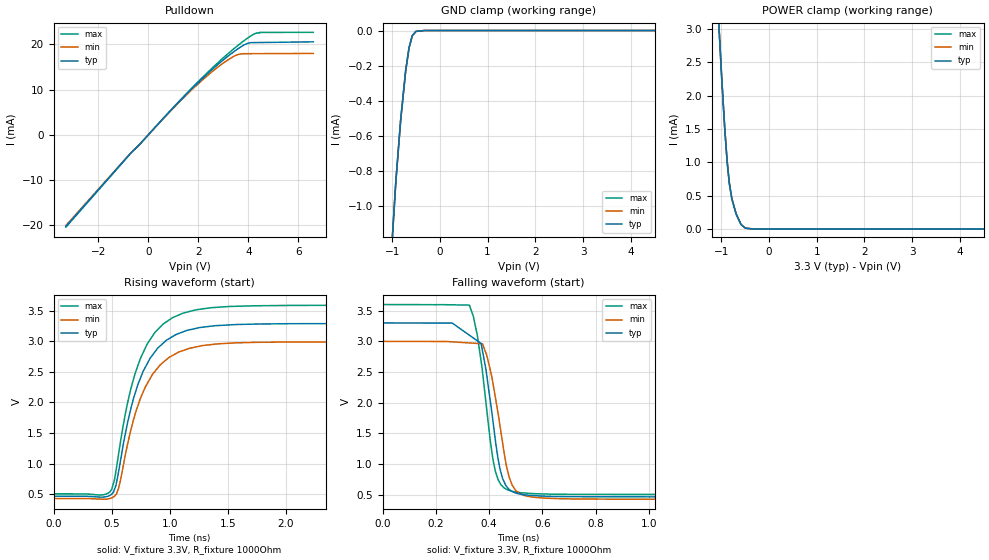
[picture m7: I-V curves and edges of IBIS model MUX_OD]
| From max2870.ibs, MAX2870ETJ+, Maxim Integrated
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|   MUX_OD Model
[Model]   MUX_OD
Model_type   Open_drain
Polarity   Non-Inverting
Vmeas = 1.65
Vref = 3.3
Cref = 10pF
Rref = 10000
|   typ   min   max
|C_comp values with magnitude order
C_comp   1.621e-14   1.621e-14   1.621e-14
|C_comp values with real corner order
|C_comp   1.621e-14   1.621e-14   1.621e-14
|C_comp (ON state)   1.621e-14   1.621e-14   1.621e-14
|C_comp (OFF state)   1.622e-14   1.621e-14   1.622e-14
[Voltage Range]   3.3   3   3.6
[Temperature Range]   27   110   -40
[Pullup Reference]   3.3   3   3.6
[Pulldown Reference]   0   0   0
[Power Clamp Reference]   3.3   3   3.6
[GND Clamp Reference]   0   0   0
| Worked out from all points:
|   slope of the pulldown table from 0 to 0.495 V, typ, clamps not added: 165 ohm
|   GND clamp passes 1 mA (typ) near -0.95 V on its own axis
|   POWER clamp passes 1 mA (typ) near -0.87 V on its own axis
|   falling waveform, V_fixture 3.3V, R_fixture 1000Ohm: 20-80 % time 56.1ps typ, 59.7ps min, 53.1ps max; typ from 3.3 V to 0.466 V
|   rising waveform, V_fixture 3.3V, R_fixture 1000Ohm: 20-80 % time 261ps typ, 266ps min, 258ps max; typ from 0.466 V to 3.3 V
[Pulldown]
|   Voltage   I(typ)   I(min)   I(max)
-3.3V     -20.26mA   -20.05mA   -20.41mA
-723mV    -4.15mA    -4.105mA   -4.183mA
-330mV    -2.002mA   -1.983mA   -2.016mA
999mV     6.004mA    5.909mA    6.074mA
2.082V    12.04mA    11.73mA    12.26mA
2.99V     16.54mA    15.85mA    17mA
3.375V    18.21mA    17.23mA    18.84mA
3.623V    19.18mA    17.84mA    19.95mA
3.986V    20.27mA    17.96mA    21.46mA
4.31V     20.42mA    17.96mA    22.5mA
4.448V    20.43mA    17.97mA    22.66mA
6.6V      20.58mA    18.01mA    22.68mA
[GND Clamp]
|   Voltage   I(typ)   I(min)   I(max)
-3.3V     -17.18mA   -17.18mA   -17.18mA
-1.005V   -1.225mA   -1.227mA   -1.224mA
-924mV    -870uA     -871.2uA   -868.8uA
-823.2mV  -518.9uA   -519.8uA   -517.9uA
-715.2mV  -228.2uA   -228.9uA   -227.5uA
-643.5mV  -96.29uA   -96.73uA   -95.88uA
-578.4mV  -30.9uA    -31.09uA   -30.7uA
-498mV    -4.841uA   -4.876uA   -4.807uA
-312mV    -20.63nA   -20.8nA    -20.4nA
6.6V      0A         0A         0A
[POWER Clamp]
|   Voltage   I(typ)   I(min)   I(max)
-3.3V     37.76mA    37.77mA    37.76mA
-1.082V   3.525mA    3.53mA     3.521mA
-990mV    2.286mA    2.29mA     2.282mA
-927.3mV  1.535mA    1.538mA    1.531mA
-877.8mV  1.042mA    1.045mA    1.039mA
-826.8mV  677.3uA    679uA      675.5uA
-774mV    448.9uA    449.9uA    447.9uA
-686.4mV  224.6uA    225.3uA    224uA
-585.6mV  69.49uA    69.79uA    69.16uA
-492mV    11.8uA     11.87uA    11.71uA
-297.6mV  48.29nA    48.77nA    47.76nA
6.6V      0A         0A         0A
[Ramp]
R_load = 1000
|   typ   min   max
dV/dt_r 1.7002E+00/2.6117E-10   1.5431E+00/2.6582E-10   1.8569E+00/2.5837E-10
dV/dt_f 1.7002E+00/5.6134E-11   1.5432E+00/5.9726E-11   1.8570E+00/5.3136E-11
[Falling Waveform]
V_fixture = 3.3V
V_fixture_min = 3V
V_fixture_max = 3.6V
R_fixture = 1000Ohm
|   Time   V(typ)   V(min)   V(max)
0s        3.3V       3V         3.6V
261.9ps   3.298V     2.992V     3.595V
326.1ps   3.1V       2.975V     3.59V
370.3ps   2.965V     2.963V     2.669V
414.9ps   1.687V     2.309V     1.065V
434.2ps   1.082V     1.82V      745.4mV
464.5ps   644.1mV    985.1mV    593.5mV
486.6ps   554.2mV    660mV      558.6mV
559.4ps   490.9mV    467mV      522.4mV
15ns      466.3mV    428.1mV    505mV
[Rising Waveform]
V_fixture = 3.3V
V_fixture_min = 3V
V_fixture_max = 3.6V
R_fixture = 1000Ohm
|   Time   V(typ)   V(min)   V(max)
0s        466.3mV    428.1mV    505mV
483.8ps   477.4mV    427.4mV    534.8mV
525.5ps   581.1mV    467mV      744.4mV
560.4ps   870.7mV    597.2mV    1.165V
665.4ps   1.898V     1.548V     2.223V
725.3ps   2.287V     1.943V     2.598V
805.6ps   2.63V      2.304V     2.953V
993.3ps   3.04V      2.734V     3.345V
1.353ns   3.245V     2.944V     3.547V
15ns      3.3V       3V         3.6V
